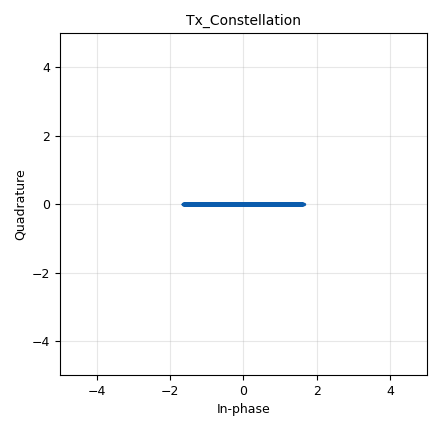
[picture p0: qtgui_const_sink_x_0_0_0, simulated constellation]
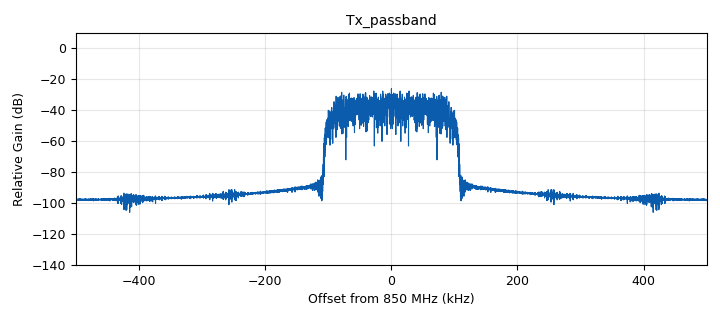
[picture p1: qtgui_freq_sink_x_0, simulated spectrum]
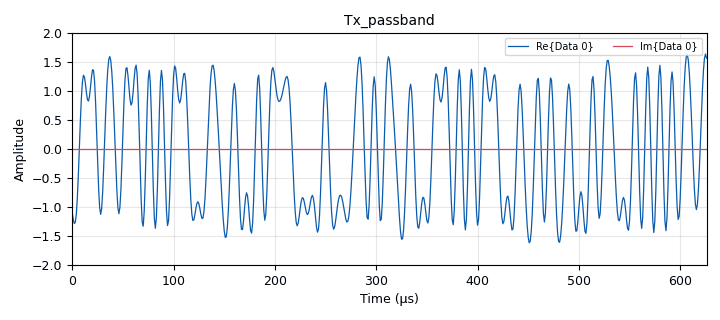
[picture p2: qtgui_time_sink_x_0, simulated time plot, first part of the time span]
options:
  parameters:
    generate_options: qt_gui
    id: BPSK_cach2
    output_language: python
    title: Not titled yet
  states: {}

blocks:
- name: alpha
  id: variable
  parameters:
    value: '0.3'
  states: {}
- name: center_freq
  id: variable
  parameters:
    value: '850000000'
  states: {}
- name: constellation
  id: variable_constellation
  parameters:
    npwr: '0'
    precision: '1'
    type: bpsk
  states: {}
- name: rx_gain
  id: variable_qtgui_range
  parameters:
    start: '0'
    step: '1'
    stop: '100'
    value: '10'
  states: {}
- name: samp_rate
  id: variable
  parameters:
    value: '1000000'
  states: {}
- name: sps
  id: variable
  parameters:
    value: '6'
  states: {}
- name: tx_attenuation
  id: variable_qtgui_range
  parameters:
    start: '0'
    step: '1'
    stop: '100'
    value: '10'
  states: {}
- name: analog_random_uniform_source_x_0
  id: analog_random_uniform_source_x
  parameters:
    maximum: '15'
    minimum: '0'
    seed: '0'
    type: byte
  states: {}
- name: blocks_multiply_const_vxx_0
  id: blocks_multiply_const_vxx
  parameters:
    const: '1'
    type: complex
  states: {}
- name: blocks_unpacked_to_packed_xx_0
  id: blocks_unpacked_to_packed_xx
  parameters:
    bits_per_chunk: '1'
    endianness: gr.GR_MSB_FIRST
    type: byte
  states: {}
- name: blocks_vector_source_x_0
  id: blocks_vector_source_x
  parameters:
    repeat: 'True'
    type: byte
    vector: (0,1,1,1,1,0,0,1,1,0,1,0,1,0,1, 0, 0)
  states: {state: disabled}
- name: digital_constellation_modulator_0
  id: digital_constellation_modulator
  parameters:
    constellation: constellation
    differential: 'False'
    excess_bw: alpha
    samples_per_symbol: sps
  states: {}
- name: iio_pluto_sink_0
  id: iio_pluto_sink
  parameters:
    attenuation1: tx_attenuation
    bandwidth: '40000000'
    buffer_size: '32768'
    cyclic: 'False'
    filter_source: '''Auto'''
    frequency: center_freq
    samplerate: samp_rate
    type: fc32
    uri: usb:1.2.5
  states: {}
- name: iio_pluto_source_0
  id: iio_pluto_source
  parameters:
    bandwidth: '40000000'
    bbdc: 'True'
    buffer_size: '32768'
    filter_source: '''Auto'''
    frequency: center_freq
    gain1: '''manual'''
    manual_gain1: rx_gain
    quadrature: 'True'
    rfdc: 'True'
    samplerate: samp_rate
    type: fc32
    uri: usb:1.3.5
  states: {}
- name: qtgui_const_sink_x_0_0
  id: qtgui_const_sink_x
  parameters:
    name: Rx_Constellation
    size: 1024*8
    type: complex
    update_time: '2'
    xmax: '-2'
  states: {}
- name: qtgui_const_sink_x_0_0_0
  id: qtgui_const_sink_x
  parameters:
    name: Tx_Constellation
    size: 1024*8
    type: complex
    xmax: '5'
    xmin: '-5'
    ymax: '5'
    ymin: '-5'
  states: {}
- name: qtgui_freq_sink_x_0
  id: qtgui_freq_sink_x
  parameters:
    bw: samp_rate
    fc: center_freq
    fftsize: 1024*8
    name: Tx_passband
    type: complex
    wintype: window.WIN_HAMMING
  states: {}
- name: qtgui_freq_sink_x_1
  id: qtgui_freq_sink_x
  parameters:
    bw: samp_rate
    fc: center_freq
    fftsize: '1024'
    name: RX_Freq
    norm_window: 'True'
    type: complex
    wintype: window.WIN_HAMMING
  states: {}
- name: qtgui_time_sink_x_0
  id: qtgui_time_sink_x
  parameters:
    name: Tx_passband
    size: 1024*8
    srate: samp_rate
    type: complex
    ymax: '2'
    ymin: '-2'
  states: {}
- name: qtgui_time_sink_x_1
  id: qtgui_time_sink_x
  parameters:
    entags: 'False'
    name: RX_time
    size: '1024'
    srate: samp_rate
    type: complex
    update_time: '0.2'
  states: {}

connections:
- [analog_random_uniform_source_x_0, '0', blocks_unpacked_to_packed_xx_0, '0']
- [blocks_multiply_const_vxx_0, '0', iio_pluto_sink_0, '0']
- [blocks_multiply_const_vxx_0, '0', qtgui_const_sink_x_0_0_0, '0']
- [blocks_multiply_const_vxx_0, '0', qtgui_freq_sink_x_0, '0']
- [blocks_multiply_const_vxx_0, '0', qtgui_time_sink_x_0, '0']
- [blocks_unpacked_to_packed_xx_0, '0', digital_constellation_modulator_0, '0']
- [blocks_vector_source_x_0, '0', blocks_unpacked_to_packed_xx_0, '0']
- [digital_constellation_modulator_0, '0', blocks_multiply_const_vxx_0, '0']
- [iio_pluto_source_0, '0', qtgui_const_sink_x_0_0, '0']
- [iio_pluto_source_0, '0', qtgui_freq_sink_x_1, '0']
- [iio_pluto_source_0, '0', qtgui_time_sink_x_1, '0']

metadata:
  file_format: 1
  grc_version: 3.10.11.0
